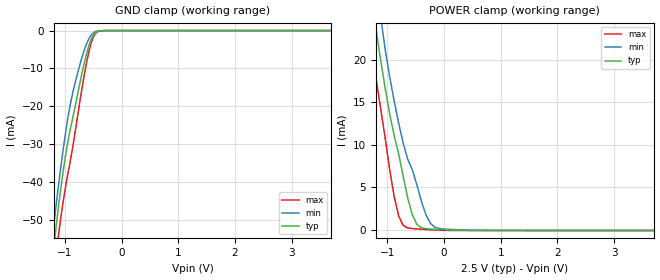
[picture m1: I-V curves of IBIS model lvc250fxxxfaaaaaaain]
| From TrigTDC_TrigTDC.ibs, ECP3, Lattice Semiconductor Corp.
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[Model]   lvc250fxxxfaaaaaaain
Model_type   Input
Polarity   Non-Inverting
Enable   Active-Low
Vinl =   0.700000V
Vinh =   1.700000V
C_comp   2.7pF   2.2pF   3.2pF
[Temperature Range]   25.000000   0.105000k   -40.000000
[Voltage Range]   2.500000V   2.380000V   2.630000V
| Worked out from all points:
|   GND clamp passes 1 mA (typ) near -0.48 V on its own axis
|   POWER clamp passes 1 mA (typ) near -0.51 V on its own axis
[GND_clamp]
|Voltage   I(typ)   I(min)   I(max)
-2.5V     -568.6mA   -547mA     -588.4mA
-1.22V    -60.5mA    -54.69mA   -68.17mA
-1.18V    -55.16mA   -49.44mA   -62.72mA
-1.14V    -50.01mA   -44.35mA   -57.52mA
-1.1V     -45.08mA   -39.45mA   -52.65mA
-980mV    -32.27mA   -26.21mA   -40.63mA
-860mV    -22.99mA   -16.38mA   -30.68mA
-700mV    -11.37mA   -7.163mA   -15.45mA
-620mV    -6.261mA   -3.619mA   -8.681mA
-540mV    -2.469mA   -1.301mA   -3.454mA
-460mV    -558.2uA   -296.3uA   -734.8uA
5V        0A         0A         0A
[POWER_clamp]
|Voltage   I(typ)   I(min)   I(max)
-2.48V    125.5mA    103mA      134.9mA
-1.36V    32.65mA    38.54mA    25.71mA
-1.28V    27.59mA    33.87mA    21.59mA
-1.2V     23.57mA    29.37mA    17.78mA
-1.12V    20.02mA    25.12mA    14.36mA
-880mV    11.07mA    15.15mA    3.899mA
-800mV    8.895mA    12.52mA    1.6mA
-640mV    3.709mA    8.279mA    211.3uA
-480mV    635.9uA    5.291mA    91.04uA
-320mV    126.3uA    1.762mA    22.31uA
-80mV     23.9uA     123.7uA    -54.1uA
5V        -91.84uA   -90.14uA   -95.24uA
